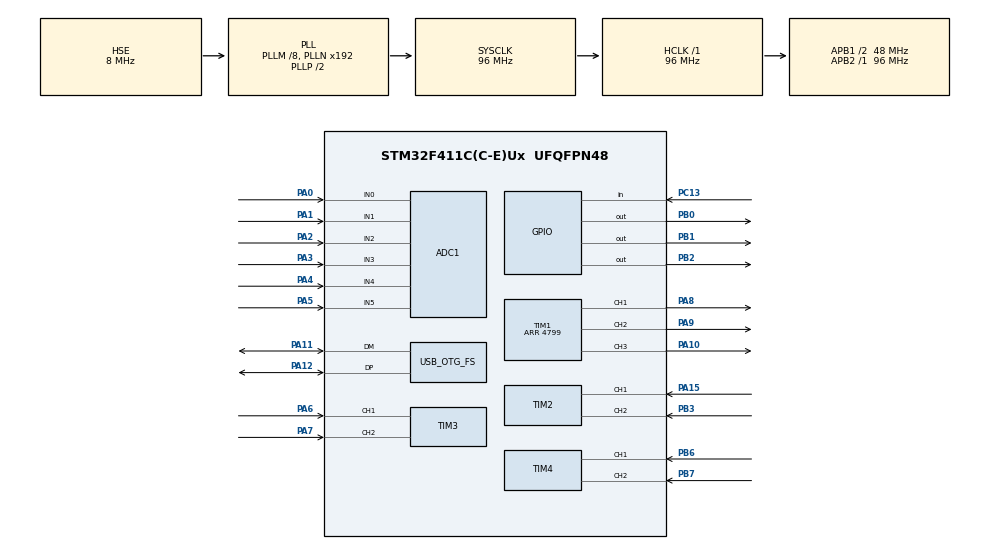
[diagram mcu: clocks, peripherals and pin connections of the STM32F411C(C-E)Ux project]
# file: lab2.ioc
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ADC1.Channel-0\#ChannelRegularConversion=ADC_CHANNEL_1
ADC1.NbrOfConversionFlag=1
ADC1.Rank-0\#ChannelRegularConversion=1
ADC1.SamplingTime-0\#ChannelRegularConversion=ADC_SAMPLETIME_3CYCLES
ADC1.master=1
Mcu.Family=STM32F4
Mcu.Name=STM32F411C(C-E)Ux
Mcu.Package=UFQFPN48
NVIC.OTG_FS_IRQn=true\:0\:0\:false\:false\:true\:false\:true\:true
NVIC.PriorityGroup=NVIC_PRIORITYGROUP_4
PA0-WKUP.Signal=ADCx_IN0
PA1.Signal=ADCx_IN1
PA10.Signal=S_TIM1_CH3
PA11.Mode=Device_Only
PA11.Signal=USB_OTG_FS_DM
PA12.Mode=Device_Only
PA12.Signal=USB_OTG_FS_DP
PA15.Signal=S_TIM2_CH1_ETR
PA2.Signal=ADCx_IN2
PA3.Signal=ADCx_IN3
PA4.Signal=ADCx_IN4
PA5.Signal=ADCx_IN5
PA6.Signal=S_TIM3_CH1
PA7.Signal=S_TIM3_CH2
PA8.Signal=S_TIM1_CH1
PA9.Signal=S_TIM1_CH2
PB0.Signal=GPIO_Output
PB1.Signal=GPIO_Output
PB2.Signal=GPIO_Output
PB3.Signal=S_TIM2_CH2
PB6.Signal=S_TIM4_CH1
PB7.Signal=S_TIM4_CH2
PC13-ANTI_TAMP.Signal=GPIO_Input
PH0\ -\ OSC_IN.Mode=HSE-External-Oscillator
PH0\ -\ OSC_IN.Signal=RCC_OSC_IN
PH1\ -\ OSC_OUT.Mode=HSE-External-Oscillator
PH1\ -\ OSC_OUT.Signal=RCC_OSC_OUT
ProjectManager.HeapSize=0x200
ProjectManager.StackSize=0x400
ProjectManager.TargetToolchain=STM32CubeIDE
RCC.48MHZClocksFreq_Value=48000000
RCC.AHBFreq_Value=96000000
RCC.APB1CLKDivider=RCC_HCLK_DIV2
RCC.APB1Freq_Value=48000000
RCC.APB1TimFreq_Value=96000000
RCC.APB2Freq_Value=96000000
RCC.APB2TimFreq_Value=96000000
RCC.CortexFreq_Value=96000000
RCC.HCLKFreq_Value=96000000
RCC.HSE_VALUE=8000000
RCC.HSI_VALUE=16000000
RCC.LSE_VALUE=32768
RCC.PLLM=8
RCC.SYSCLKFreq_VALUE=96000000
RCC.SYSCLKSource=RCC_SYSCLKSOURCE_PLLCLK
RCC.VCOOutputFreq_Value=192000000
SH.ADCx_IN0.0=ADC1_IN0,IN0
SH.ADCx_IN1.0=ADC1_IN1,IN1
SH.ADCx_IN2.0=ADC1_IN2,IN2
SH.ADCx_IN3.0=ADC1_IN3,IN3
SH.ADCx_IN4.0=ADC1_IN4,IN4
SH.ADCx_IN5.0=ADC1_IN5,IN5
SH.S_TIM1_CH1.0=TIM1_CH1,PWM Generation1 CH1
SH.S_TIM1_CH2.0=TIM1_CH2,PWM Generation2 CH2
SH.S_TIM1_CH3.0=TIM1_CH3,PWM Generation3 CH3
SH.S_TIM2_CH1_ETR.0=TIM2_CH1,Encoder_Interface
SH.S_TIM2_CH2.0=TIM2_CH2,Encoder_Interface
SH.S_TIM3_CH1.0=TIM3_CH1,Encoder_Interface
SH.S_TIM3_CH2.0=TIM3_CH2,Encoder_Interface
SH.S_TIM4_CH1.0=TIM4_CH1,Encoder_Interface
SH.S_TIM4_CH2.0=TIM4_CH2,Encoder_Interface
TIM1.AutoReloadPreload=TIM_AUTORELOAD_PRELOAD_ENABLE
TIM1.Channel-PWM\ Generation1\ CH1=TIM_CHANNEL_1
TIM1.Channel-PWM\ Generation2\ CH2=TIM_CHANNEL_2
TIM1.Channel-PWM\ Generation3\ CH3=TIM_CHANNEL_3
TIM1.Period=4799
TIM2.EncoderMode=TIM_ENCODERMODE_TI12
TIM3.EncoderMode=TIM_ENCODERMODE_TI12
TIM4.EncoderMode=TIM_ENCODERMODE_TI12
USB_DEVICE.CLASS_NAME_FS=CDC
USB_DEVICE.VirtualMode=Cdc
USB_DEVICE.VirtualModeFS=Cdc_FS
USB_OTG_FS.VirtualMode=Device_Only
VP_USB_DEVICE_VS_USB_DEVICE_CDC_FS.Mode=CDC_FS
board=custom

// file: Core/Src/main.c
/* USER CODE BEGIN Header */
/**
  ******************************************************************************
  * @file           : main.c
  * @brief          : Main program body
  ******************************************************************************
  * @attention
  *
  * Copyright (c) 2026 STMicroelectronics.
  * All rights reserved.
  *
  * This software is licensed under terms that can be found in the LICENSE file
  * in the root directory of this software component.
  * If no LICENSE file comes with this software, it is provided AS-IS.
  *
  ******************************************************************************
  */
/* USER CODE END Header */
#include "main.h"

/* USER CODE BEGIN Includes */
#include "usbd_cdc_if.h"
#include <stdio.h>
#include <string.h>
#include "usb_device.h"

/* USER CODE END Includes */

/* USER CODE BEGIN PTD */
typedef enum
{
  MOTOR_STATE_IDLE = 0,
  MOTOR_STATE_GRABBING,
  MOTOR_STATE_HOLDING,
  MOTOR_STATE_RELEASING,
  MOTOR_STATE_ADJUSTING,
  MOTOR_STATE_GRABPID,
  MOTOR_STATE_LIGHT,
  MOTOR_STATE_HARD,
  MOTOR_STATE_UNEVEN,
  MOTOR_STATE_SETUP_FORWARD,
  MOTOR_STATE_SETUP_BACKWARD
} MotorState;

typedef struct
{
  TIM_HandleTypeDef *encoder_timer;
  uint32_t encoder_mask;
  TIM_HandleTypeDef *pwm_timer;
  uint32_t pwm_channel;
  GPIO_TypeDef *phase_port;
  uint16_t phase_pin;
  GPIO_PinState grab_phase;
  int32_t encoder_grab_sign;
  uint32_t pressure_index;

  uint32_t encoder_raw;
  uint32_t encoder_last_raw;
  int32_t encoder_position_counts;
  int32_t grab_start_counts;
  int32_t grab_travel_counts;
  int32_t release_start_counts;
  int32_t release_target_counts;
  int32_t adjust_start_counts;
  int32_t adjust_target_counts;
  int32_t adjust_direction_sign;
  int32_t grabpid_integral;
  int32_t grabpid_previous_error;
  int8_t grabpid_output_sign;
  uint32_t grabpid_target_duty_percent;
  uint32_t duty_percent;
  MotorState state;
} MotorRuntime;

/* USER CODE END PTD */

/* USER CODE BEGIN PD */
#define MOTOR_COUNT                      3U
#define MOTOR_TARGET_DUTY_PERCENT       35U
#define SETUP_TARGET_DUTY_PERCENT       50U
#define MOTOR_DUTY_RAMP_STEP_PERCENT    2U
#define MOTOR_DUTY_RAMP_STEP_MS         25U

#define FORWARD_OUTPUT_ROTATION_LIMIT   0.8L
#define GEARBOX_RATIO                   1L
#define ENCODER_COUNTS_PER_MOTOR_ROTATION 4096L
#define ENCODER_COUNTS_PER_OUTPUT_ROTATION \
  (GEARBOX_RATIO * ENCODER_COUNTS_PER_MOTOR_ROTATION)
#define FORWARD_TRAVEL_LIMIT_COUNTS \
  (FORWARD_OUTPUT_ROTATION_LIMIT * ENCODER_COUNTS_PER_OUTPUT_ROTATION)
#define SETUP_RETURN_OVERLAP_COUNTS     (FORWARD_TRAVEL_LIMIT_COUNTS / 5L)
#define GRABPID_GAIN_SCALE              100L
#define GRABPID_ERROR_DEADBAND_PERCENT  1L
#define GRABPID_INTEGRAL_LIMIT          1000L
#define YEAH_MOTOR_NUMBER               2U
#define YEAH_ROTATION_MICRO             2000000UL

#define ADC_MAX_COUNTS                  4095U
#define ADC_PRESSURE1_CHANNEL           ADC_CHANNEL_0
#define ADC_PRESSURE2_CHANNEL           ADC_CHANNEL_1
#define ADC_PRESSURE3_CHANNEL           ADC_CHANNEL_2
/* Pressure indexes: 0 = PA0, 1 = PA1, 2 = PA2. */
#define MOTOR1_PRESSURE_INDEX           1U
#define MOTOR2_PRESSURE_INDEX           2U
#define MOTOR3_PRESSURE_INDEX           0U
#define CONTROL_UPDATE_MS               10U
#define SERIAL_REPORT_MS                100U

#define MOTOR1_GRAB_PHASE               GPIO_PIN_RESET
#define MOTOR2_GRAB_PHASE               GPIO_PIN_SET
#define MOTOR3_GRAB_PHASE               GPIO_PIN_SET
#define MOTOR1_ENCODER_GRAB_SIGN        1L
#define MOTOR2_ENCODER_GRAB_SIGN        -1L
#define MOTOR3_ENCODER_GRAB_SIGN        -1L

/* USER CODE END PD */

ADC_HandleTypeDef hadc1;

TIM_HandleTypeDef htim1;
TIM_HandleTypeDef htim2;
TIM_HandleTypeDef htim3;
TIM_HandleTypeDef htim4;

/* USER CODE BEGIN PV */
/*
 * Serial commands:
 *   grab    - close each finger until its normal pressure threshold or max travel.
 *   grabpid - independently PID-control each finger to its pressure target.
 *   light   - close each finger like grab, but with low pressure thresholds.
 *   hard    - close each finger like light, but with high pressure thresholds.
 *   uneven  - close for uneven objects; stop all fingers after enough fingers hit threshold.
 *   release - release the last recorded grab/light/uneven/grabpid travel; also accepts "relase".
 *   STOP    - immediately stop every motor with no release motion.
 *   setup   - run the setup forward/backward sequence.
 *   adj <motor> <+|-> <rotations> - move one motor by a signed rotation count.
 *   yeah    - move the configured motor in the positive direction by the configured rotations.
 *
 * Connections:
 *   PA0 pressure sensor -> finger 3, motor phase PB2, PWM PA10.
 *   PA1 pressure sensor -> finger 1, motor phase PB0, PWM PA8.
 *   PA2 pressure sensor -> finger 2, motor phase PB1, PWM PA9.
 *
 * Finger-indexed arrays use order: {finger 1, finger 2, finger 3}.
 */
static uint32_t grab_stop_percent[MOTOR_COUNT] = {40U, 55U, 40U};
static uint32_t grab_pressure_index[MOTOR_COUNT] =
{
  MOTOR1_PRESSURE_INDEX,
  MOTOR2_PRESSURE_INDEX,
  MOTOR3_PRESSURE_INDEX
};
static uint32_t light_stop_percent[MOTOR_COUNT] = {10U, 10U, 10U};
static uint32_t hard_stop_percent[MOTOR_COUNT] = {85U, 85U, 85U};
static uint32_t uneven_stop_percent[MOTOR_COUNT] = {40U, 55U, 40U};
static uint32_t uneven_primary_finger_index = 1U;
static uint32_t uneven_secondary_finger_a_index = 0U;
static uint32_t uneven_secondary_finger_b_index = 2U;
static uint32_t grabpid_target_percent[MOTOR_COUNT] = {60U, 70U, 60U};
static int32_t grabpid_kp[MOTOR_COUNT] = {200L, 200L, 200L};
static int32_t grabpid_ki[MOTOR_COUNT] = {0L, 0L, 0L};
static int32_t grabpid_kd[MOTOR_COUNT] = {0L, 0L, 0L};
static uint32_t grabpid_max_duty_percent[MOTOR_COUNT] =
{
  MOTOR_TARGET_DUTY_PERCENT,
  MOTOR_TARGET_DUTY_PERCENT,
  MOTOR_TARGET_DUTY_PERCENT
};
static uint8_t yeah_motor_number = YEAH_MOTOR_NUMBER;
static uint32_t yeah_rotation_micro = YEAH_ROTATION_MICRO;

static MotorRuntime motors[MOTOR_COUNT] =
{
  {
    .encoder_timer = &htim2,
    .encoder_mask = 0xFFFFFFFFUL,
    .pwm_timer = &htim1,
    .pwm_channel = TIM_CHANNEL_1,
    .phase_port = GPIOB,
    .phase_pin = GPIO_PIN_0,
    .grab_phase = MOTOR1_GRAB_PHASE,
    .encoder_grab_sign = MOTOR1_ENCODER_GRAB_SIGN,
    .pressure_index = MOTOR1_PRESSURE_INDEX
  },
  {
    .encoder_timer = &htim3,
    .encoder_mask = 0x0000FFFFUL,
    .pwm_timer = &htim1,
    .pwm_channel = TIM_CHANNEL_2,
    .phase_port = GPIOB,
    .phase_pin = GPIO_PIN_1,
    .grab_phase = MOTOR2_GRAB_PHASE,
    .encoder_grab_sign = MOTOR2_ENCODER_GRAB_SIGN,
    .pressure_index = MOTOR2_PRESSURE_INDEX
  },
  {
    .encoder_timer = &htim4,
    .encoder_mask = 0x0000FFFFUL,
    .pwm_timer = &htim1,
    .pwm_channel = TIM_CHANNEL_3,
    .phase_port = GPIOB,
    .phase_pin = GPIO_PIN_2,
    .grab_phase = MOTOR3_GRAB_PHASE,
    .encoder_grab_sign = MOTOR3_ENCODER_GRAB_SIGN,
    .pressure_index = MOTOR3_PRESSURE_INDEX
  }
};

static uint32_t pressure_raw[3];
static uint32_t pressure_percent[3];
static uint8_t setup_sequence_active = 0U;
static uint8_t setup_waiting_for_zero_duty = 0U;
static uint32_t setup_motor_index = 0U;
static uint8_t setup_overlap_started[MOTOR_COUNT];
static int8_t setup_next_direction_sign = 0;

/* USER CODE END PV */

void SystemClock_Config(void);
static void MX_GPIO_Init(void);
static void MX_TIM2_Init(void);
static void MX_TIM3_Init(void);
static void MX_TIM1_Init(void);
static void MX_ADC1_Init(void);
static void MX_TIM4_Init(void);
/* USER CODE BEGIN PFP */
static void App_Init(void);
static void App_Update(void);
static void App_HandleSerialCommands(void);
static void App_StartGrab(void);
static void App_StartGrabPid(void);
static void App_StartLight(void);
static void App_StartHard(void);
static void App_StartUneven(void);
static void App_StartRelease(void);
static void App_StopAllMotors(const char *command_name);
static void App_StartAdjust(uint8_t motor_number, int8_t direction_sign, uint32_t rotation_micro);
static void App_StartMotorRotation(uint8_t motor_number,
                                   int8_t direction_sign,
                                   uint32_t rotation_micro,
                                   const char *command_name);
static void App_StartYeah(void);
static void App_StartSetup(void);
static void App_StartSetupMove(uint32_t motor_index, int8_t direction_sign);
static void App_AdvanceSetupSequence(void);
static void App_StartPressureGrab(MotorState state, const char *command_name);
static void App_UpdateGrabMotor(uint32_t motor_index);
static void App_UpdatePressureGrabMotor(uint32_t motor_index, const uint32_t *stop_percent);
static void App_UpdateUnevenGrab(void);
static void App_StopMotorHolding(MotorRuntime *motor);
static void App_UpdateGrabPidMotor(uint32_t motor_index);
static void App_ReadPressureSensors(void);
static void App_PrintStatus(void);
static void Motor_SetDutyPercent(MotorRuntime *motor, uint32_t duty_percent);
static void Motor_RampDuty(MotorRuntime *motor, uint32_t target_duty_percent);
static void Motor_SetDirection(MotorRuntime *motor, GPIO_PinState phase);
static void Motor_Stop(MotorRuntime *motor);
static void Motor_UpdateEncoder(MotorRuntime *motor);
static int32_t Motor_GetLogicalForwardCounts(const MotorRuntime *motor);
static int32_t Motor_GetLogicalReleaseTravelCounts(const MotorRuntime *motor);
static int32_t Motor_GetLogicalAdjustTravelCounts(const MotorRuntime *motor);
static int32_t Motor_GetRotationMilli(const MotorRuntime *motor);
static int32_t RotationMicroToCounts(uint32_t rotation_micro);
static void Motor_ResetZero(MotorRuntime *motor);
static int32_t Abs32(int32_t value);
static uint32_t PressurePercentFromRaw(uint32_t raw);
static void Serial_SendString(const char *text);
static uint32_t ADC_ReadRaw(uint32_t channel);

/* USER CODE END PFP */

/* USER CODE BEGIN 0 */
static void App_Init(void)
{
  HAL_TIM_PWM_Start(&htim1, TIM_CHANNEL_1);
  HAL_TIM_PWM_Start(&htim1, TIM_CHANNEL_2);
  HAL_TIM_PWM_Start(&htim1, TIM_CHANNEL_3);
  HAL_TIM_Encoder_Start(&htim2, TIM_CHANNEL_ALL);
  HAL_TIM_Encoder_Start(&htim3, TIM_CHANNEL_ALL);
  HAL_TIM_Encoder_Start(&htim4, TIM_CHANNEL_ALL);

  for (uint32_t i = 0U; i < MOTOR_COUNT; i++)
  {
    __HAL_TIM_SET_COUNTER(motors[i].encoder_timer, 0U);
    motors[i].encoder_raw = 0U;
    motors[i].encoder_last_raw = 0U;
    motors[i].encoder_position_counts = 0L;
    motors[i].grab_start_counts = 0L;
    motors[i].grab_travel_counts = 0L;
    motors[i].release_start_counts = 0L;
    motors[i].release_target_counts = 0L;
    motors[i].adjust_start_counts = 0L;
    motors[i].adjust_target_counts = 0L;
    motors[i].adjust_direction_sign = 1L;
    motors[i].grabpid_integral = 0L;
    motors[i].grabpid_previous_error = 0L;
    motors[i].grabpid_output_sign = 0;
    motors[i].grabpid_target_duty_percent = 0U;
    motors[i].state = MOTOR_STATE_IDLE;
    Motor_Stop(&motors[i]);
  }

  App_ReadPressureSensors();
  Serial_SendString("robotic_hand_test,start\r\n");
  Serial_SendString("commands: grab, grabpid, light, hard, uneven, STOP, relase, release, setup, yeah, adj <motor> <+|-> <rotations>\r\n");
  Serial_SendString("t_ms,m1_state,m1_enc_raw,m1_counts,m1_rot,m1_duty,m2_state,m2_enc_raw,m2_counts,m2_rot,m2_duty,m3_state,m3_enc_raw,m3_counts,m3_rot,m3_duty,p1_raw,p1_pct,p2_raw,p2_pct,p3_raw,p3_pct\r\n");
}

static void App_Update(void)
{
  static uint32_t last_control_tick = 0U;
  static uint32_t last_ramp_tick = 0U;
  static uint32_t last_report_tick = 0U;
  uint32_t now = HAL_GetTick();

  App_HandleSerialCommands();

  if ((now - last_control_tick) >= CONTROL_UPDATE_MS)
  {
    last_control_tick = now;
    App_ReadPressureSensors();

    for (uint32_t i = 0U; i < MOTOR_COUNT; i++)
    {
      Motor_UpdateEncoder(&motors[i]);

      if (motors[i].state == MOTOR_STATE_GRABBING)
      {
        App_UpdateGrabMotor(i);
      }
      else if (motors[i].state == MOTOR_STATE_LIGHT)
      {
        App_UpdatePressureGrabMotor(i, light_stop_percent);
      }
      else if (motors[i].state == MOTOR_STATE_HARD)
      {
        App_UpdatePressureGrabMotor(i, hard_stop_percent);
      }
      else if (motors[i].state == MOTOR_STATE_GRABPID)
      {
        App_UpdateGrabPidMotor(i);
      }
      else if (motors[i].state == MOTOR_STATE_RELEASING)
      {
        if (Motor_GetLogicalReleaseTravelCounts(&motors[i]) >= motors[i].grab_travel_counts)
        {
          motors[i].grab_travel_counts = 0L;
          motors[i].release_target_counts = 0L;
          motors[i].state = MOTOR_STATE_IDLE;
          Motor_Stop(&motors[i]);
        }
      }
      else if (motors[i].state == MOTOR_STATE_ADJUSTING)
      {
        if (Motor_GetLogicalAdjustTravelCounts(&motors[i]) >= motors[i].adjust_target_counts)
        {
          Motor_Stop(&motors[i]);
          Motor_ResetZero(&motors[i]);
          motors[i].state = MOTOR_STATE_IDLE;
        }
      }
      else if ((motors[i].state == MOTOR_STATE_SETUP_FORWARD) ||
               (motors[i].state == MOTOR_STATE_SETUP_BACKWARD))
      {
        int32_t setup_travel_counts = Motor_GetLogicalAdjustTravelCounts(&motors[i]);
        MotorState setup_state = motors[i].state;

        if ((setup_sequence_active != 0U) &&
            (i == setup_motor_index) &&
            (setup_state == MOTOR_STATE_SETUP_BACKWARD) &&
            (setup_overlap_started[i] == 0U) &&
            ((setup_travel_counts + SETUP_RETURN_OVERLAP_COUNTS) >= motors[i].adjust_target_counts) &&
            ((i + 1U) < MOTOR_COUNT) &&
            (motors[i + 1U].state == MOTOR_STATE_IDLE))
        {
          setup_overlap_started[i] = 1U;
          App_StartSetupMove(i + 1U, 1);
        }

        if ((i == setup_motor_index) && (setup_travel_counts >= motors[i].adjust_target_counts))
        {
          setup_next_direction_sign =
              (setup_state == MOTOR_STATE_SETUP_FORWARD) ? -1 : 0;
          motors[i].state = MOTOR_STATE_IDLE;

          if ((setup_state == MOTOR_STATE_SETUP_BACKWARD) &&
              (setup_overlap_started[i] != 0U) &&
              ((i + 1U) < MOTOR_COUNT))
          {
            setup_waiting_for_zero_duty = 0U;
            App_AdvanceSetupSequence();
          }
          else
          {
            setup_waiting_for_zero_duty = 1U;
          }
        }
      }
    }

    App_UpdateUnevenGrab();
  }

  if ((now - last_ramp_tick) >= MOTOR_DUTY_RAMP_STEP_MS)
  {
    last_ramp_tick = now;

    for (uint32_t i = 0U; i < MOTOR_COUNT; i++)
    {
      if (motors[i].state == MOTOR_STATE_GRABPID)
      {
        Motor_RampDuty(&motors[i], motors[i].grabpid_target_duty_percent);
      }
      else if ((motors[i].state == MOTOR_STATE_GRABBING) ||
          (motors[i].state == MOTOR_STATE_LIGHT) ||
          (motors[i].state == MOTOR_STATE_HARD) ||
          (motors[i].state == MOTOR_STATE_UNEVEN) ||
          (motors[i].state == MOTOR_STATE_RELEASING) ||
          (motors[i].state == MOTOR_STATE_ADJUSTING))
      {
        Motor_RampDuty(&motors[i], MOTOR_TARGET_DUTY_PERCENT);
      }
      else if ((motors[i].state == MOTOR_STATE_SETUP_FORWARD) ||
               (motors[i].state == MOTOR_STATE_SETUP_BACKWARD))
      {
        Motor_RampDuty(&motors[i], SETUP_TARGET_DUTY_PERCENT);
      }
      else
      {
        Motor_RampDuty(&motors[i], 0U);
      }
    }

    if ((setup_sequence_active != 0U) &&
        (setup_waiting_for_zero_duty != 0U) &&
        (setup_motor_index < MOTOR_COUNT) &&
        (motors[setup_motor_index].duty_percent == 0U))
    {
      App_AdvanceSetupSequence();
    }
  }

  if ((now - last_report_tick) >= SERIAL_REPORT_MS)
  {
    last_report_tick = now;
    App_PrintStatus();
  }
}

static void App_HandleSerialCommands(void)
{
  uint8_t adjust_motor_number;
  int8_t adjust_direction_sign;
  uint32_t adjust_rotation_micro;

  if (USB_CDC_PollStopCommand() != 0U)
  {
    App_StopAllMotors("STOP");
    return;
  }

  if (USB_CDC_PollReleaseCommand() != 0U)
  {
    App_StartRelease();
    return;
  }

  if (USB_CDC_PollGrabCommand() != 0U)
  {
    App_StartGrab();
  }

  if (USB_CDC_PollGrabPidCommand() != 0U)
  {
    App_StartGrabPid();
  }

  if (USB_CDC_PollLightCommand() != 0U)
  {
    App_StartLight();
  }

  if (USB_CDC_PollHardCommand() != 0U)
  {
    App_StartHard();
  }

  if (USB_CDC_PollUnevenCommand() != 0U)
  {
    App_StartUneven();
  }

  if (USB_CDC_PollYeahCommand() != 0U)
  {
    App_StartYeah();
  }

  if (USB_CDC_PollSetupCommand() != 0U)
  {
    App_StartSetup();
  }

  if (USB_CDC_PollAdjustCommand(&adjust_motor_number,
                                &adjust_direction_sign,
                                &adjust_rotation_micro) != 0U)
  {
    App_StartAdjust(adjust_motor_number, adjust_direction_sign, adjust_rotation_micro);
  }
}

static void App_StartGrab(void)
{
  App_StartPressureGrab(MOTOR_STATE_GRABBING, "grab");
}

static void App_StartLight(void)
{
  App_StartPressureGrab(MOTOR_STATE_LIGHT, "light");
}

static void App_StartHard(void)
{
  App_StartPressureGrab(MOTOR_STATE_HARD, "hard");
}

static void App_StartUneven(void)
{
  App_StartPressureGrab(MOTOR_STATE_UNEVEN, "uneven");
}

static void App_StartPressureGrab(MotorState state, const char *command_name)
{
  char line[32];

  setup_sequence_active = 0U;
  setup_waiting_for_zero_duty = 0U;
  setup_next_direction_sign = 0;

  for (uint32_t i = 0U; i < MOTOR_COUNT; i++)
  {
    Motor_UpdateEncoder(&motors[i]);
    motors[i].grab_start_counts = motors[i].encoder_position_counts;
    motors[i].grab_travel_counts = 0L;
    motors[i].release_target_counts = 0L;
    motors[i].grabpid_integral = 0L;
    motors[i].grabpid_previous_error = 0L;
    motors[i].grabpid_output_sign = 0;
    motors[i].grabpid_target_duty_percent = 0U;
    motors[i].state = state;
    Motor_SetDirection(&motors[i], motors[i].grab_phase);
  }

  snprintf(line, sizeof(line), "cmd,%s\r\n", command_name);
  Serial_SendString(line);
}

static void App_StartGrabPid(void)
{
  setup_sequence_active = 0U;
  setup_waiting_for_zero_duty = 0U;
  setup_next_direction_sign = 0;

  for (uint32_t i = 0U; i < MOTOR_COUNT; i++)
  {
    Motor_UpdateEncoder(&motors[i]);
    motors[i].grab_start_counts = motors[i].encoder_position_counts;
    motors[i].grab_travel_counts = 0L;
    motors[i].release_target_counts = 0L;
    motors[i].adjust_target_counts = 0L;
    motors[i].grabpid_integral = 0L;
    motors[i].grabpid_previous_error =
        (int32_t)grabpid_target_percent[i] -
        (int32_t)pressure_percent[motors[i].pressure_index];
    motors[i].grabpid_output_sign = 0;
    motors[i].grabpid_target_duty_percent = 0U;
    motors[i].state = MOTOR_STATE_GRABPID;
    Motor_SetDirection(&motors[i], motors[i].grab_phase);
  }

  Serial_SendString("cmd,grabpid\r\n");
}

static void App_StopAllMotors(const char *command_name)
{
  char line[32];

  setup_sequence_active = 0U;
  setup_waiting_for_zero_duty = 0U;
  setup_next_direction_sign = 0;

  for (uint32_t i = 0U; i < MOTOR_COUNT; i++)
  {
    motors[i].release_target_counts = 0L;
    motors[i].adjust_target_counts = 0L;
    motors[i].grabpid_target_duty_percent = 0U;
    motors[i].grabpid_output_sign = 0;
    motors[i].state = MOTOR_STATE_IDLE;
    Motor_Stop(&motors[i]);
  }

  snprintf(line, sizeof(line), "cmd,%s\r\n", command_name);
  Serial_SendString(line);
}

static void App_StartRelease(void)
{
  setup_sequence_active = 0U;
  setup_waiting_for_zero_duty = 0U;
  setup_next_direction_sign = 0;

  for (uint32_t i = 0U; i < MOTOR_COUNT; i++)
  {
    Motor_UpdateEncoder(&motors[i]);

    if (motors[i].grab_travel_counts > 0L)
    {
      motors[i].grabpid_target_duty_percent = 0U;
      motors[i].grabpid_output_sign = 0;
      motors[i].release_start_counts = motors[i].encoder_position_counts;
      motors[i].release_target_counts = motors[i].grab_travel_counts;
      motors[i].state = MOTOR_STATE_RELEASING;
      Motor_SetDirection(&motors[i], (motors[i].grab_phase == GPIO_PIN_SET) ? GPIO_PIN_RESET : GPIO_PIN_SET);
    }
    else
    {
      motors[i].state = MOTOR_STATE_IDLE;
      Motor_Stop(&motors[i]);
    }
  }

  Serial_SendString("cmd,release\r\n");
}

static void App_StartAdjust(uint8_t motor_number, int8_t direction_sign, uint32_t rotation_micro)
{
  App_StartMotorRotation(motor_number, direction_sign, rotation_micro, "adj");
}

static void App_StartMotorRotation(uint8_t motor_number,
                                   int8_t direction_sign,
                                   uint32_t rotation_micro,
                                   const char *command_name)
{
  char line[64];
  int32_t adjust_counts = RotationMicroToCounts(rotation_micro);
  MotorRuntime *motor;

  if ((motor_number < 1U) || (motor_number > MOTOR_COUNT) ||
      ((direction_sign != 1) && (direction_sign != -1)) ||
      (adjust_counts <= 0L))
  {
    snprintf(line, sizeof(line), "cmd,%s,error\r\n", command_name);
    Serial_SendString(line);
    return;
  }

  setup_sequence_active = 0U;
  setup_waiting_for_zero_duty = 0U;
  setup_next_direction_sign = 0;
  motor = &motors[motor_number - 1U];
  Motor_UpdateEncoder(motor);
  motor->adjust_start_counts = motor->encoder_position_counts;
  motor->adjust_target_counts = adjust_counts;
  motor->adjust_direction_sign = direction_sign;
  motor->grab_travel_counts = 0L;
  motor->release_target_counts = 0L;
  motor->grabpid_target_duty_percent = 0U;
  motor->grabpid_output_sign = 0;
  motor->state = MOTOR_STATE_ADJUSTING;

  Motor_SetDirection(motor,
                     (direction_sign > 0) ?
                     motor->grab_phase :
                     ((motor->grab_phase == GPIO_PIN_SET) ? GPIO_PIN_RESET : GPIO_PIN_SET));

  snprintf(line,
           sizeof(line),
           "cmd,%s,%u,%c,%ld\r\n",
           command_name,
           (unsigned int)motor_number,
           (direction_sign > 0) ? '+' : '-',
           (long)adjust_counts);
  Serial_SendString(line);
}

static void App_StartYeah(void)
{
  App_StartMotorRotation(yeah_motor_number, 1, yeah_rotation_micro, "yeah");
}

static void App_StartSetup(void)
{
  setup_sequence_active = 1U;
  setup_waiting_for_zero_duty = 0U;
  setup_motor_index = 0U;
  setup_next_direction_sign = 0;

  for (uint32_t i = 0U; i < MOTOR_COUNT; i++)
  {
    setup_overlap_started[i] = 0U;
    Motor_UpdateEncoder(&motors[i]);
    motors[i].grab_travel_counts = 0L;
    motors[i].release_target_counts = 0L;
    motors[i].adjust_target_counts = 0L;
    motors[i].grabpid_target_duty_percent = 0U;
    motors[i].grabpid_output_sign = 0;
    motors[i].state = MOTOR_STATE_IDLE;
  }

  Serial_SendString("cmd,setup,start\r\n");
  App_StartSetupMove(setup_motor_index, 1);
}

static void App_StartSetupMove(uint32_t motor_index, int8_t direction_sign)
{
  MotorRuntime *motor;

  if (motor_index >= MOTOR_COUNT)
  {
    setup_sequence_active = 0U;
    Serial_SendString("cmd,setup,done\r\n");
    return;
  }

  motor = &motors[motor_index];
  setup_waiting_for_zero_duty = 0U;
  setup_next_direction_sign = 0;
  Motor_UpdateEncoder(motor);
  setup_overlap_started[motor_index] = 0U;
  motor->adjust_start_counts = motor->encoder_position_counts;
  motor->adjust_target_counts = FORWARD_TRAVEL_LIMIT_COUNTS;
  motor->adjust_direction_sign = direction_sign;
  motor->state = (direction_sign > 0) ? MOTOR_STATE_SETUP_FORWARD : MOTOR_STATE_SETUP_BACKWARD;

  Motor_SetDirection(motor,
                     (direction_sign > 0) ?
                     motor->grab_phase :
                     ((motor->grab_phase == GPIO_PIN_SET) ? GPIO_PIN_RESET : GPIO_PIN_SET));
}

static void App_AdvanceSetupSequence(void)
{
  if (setup_sequence_active == 0U)
  {
    return;
  }

  if (setup_motor_index >= MOTOR_COUNT)
  {
    setup_sequence_active = 0U;
    Serial_SendString("cmd,setup,done\r\n");
    return;
  }

  setup_waiting_for_zero_duty = 0U;

  if (setup_next_direction_sign != 0)
  {
    App_StartSetupMove(setup_motor_index, setup_next_direction_sign);
    return;
  }

  motors[setup_motor_index].state = MOTOR_STATE_IDLE;
  setup_motor_index++;

  if (setup_motor_index < MOTOR_COUNT)
  {
    if ((motors[setup_motor_index].state != MOTOR_STATE_SETUP_FORWARD) &&
        (motors[setup_motor_index].state != MOTOR_STATE_SETUP_BACKWARD))
    {
      App_StartSetupMove(setup_motor_index, 1);
    }
  }
  else
  {
    setup_sequence_active = 0U;
    Serial_SendString("cmd,setup,done\r\n");
  }
}

static void App_UpdateGrabMotor(uint32_t motor_index)
{
  MotorRuntime *motor = &motors[motor_index];
  int32_t forward_counts = Motor_GetLogicalForwardCounts(motor);
  int32_t command_travel_counts =
      forward_counts - (motor->grab_start_counts * motor->encoder_grab_sign);
  uint32_t finger_pressure_percent = pressure_percent[grab_pressure_index[motor_index]];

  if (command_travel_counts < 0L)
  {
    command_travel_counts = 0L;
  }
  motor->grab_travel_counts = command_travel_counts;

  if ((command_travel_counts >= FORWARD_TRAVEL_LIMIT_COUNTS) ||
      (finger_pressure_percent >= grab_stop_percent[motor_index]))
  {
    App_StopMotorHolding(motor);
  }
}

static void App_UpdatePressureGrabMotor(uint32_t motor_index, const uint32_t *stop_percent)
{
  MotorRuntime *motor = &motors[motor_index];
  int32_t forward_counts = Motor_GetLogicalForwardCounts(motor);
  int32_t command_travel_counts =
      forward_counts - (motor->grab_start_counts * motor->encoder_grab_sign);
  uint32_t finger_pressure_percent = pressure_percent[motor->pressure_index];

  if (command_travel_counts < 0L)
  {
    command_travel_counts = 0L;
  }
  motor->grab_travel_counts = command_travel_counts;

  if ((command_travel_counts >= FORWARD_TRAVEL_LIMIT_COUNTS) ||
      (finger_pressure_percent >= stop_percent[motor_index]))
  {
    App_StopMotorHolding(motor);
  }
}

static void App_UpdateUnevenGrab(void)
{
  uint32_t active_count = 0U;
  uint8_t threshold_reached[MOTOR_COUNT] = {0U, 0U, 0U};
  uint8_t stop_all = 0U;

  for (uint32_t i = 0U; i < MOTOR_COUNT; i++)
  {
    MotorRuntime *motor = &motors[i];
    int32_t forward_counts;
    int32_t command_travel_counts;

    if (motor->state != MOTOR_STATE_UNEVEN)
    {
      continue;
    }

    active_count++;
    forward_counts = Motor_GetLogicalForwardCounts(motor);
    command_travel_counts =
        forward_counts - (motor->grab_start_counts * motor->encoder_grab_sign);

    if (command_travel_counts < 0L)
    {
      command_travel_counts = 0L;
    }
    motor->grab_travel_counts = command_travel_counts;

    if (command_travel_counts >= FORWARD_TRAVEL_LIMIT_COUNTS)
    {
      App_StopMotorHolding(motor);
    }

    if (pressure_percent[motor->pressure_index] >= uneven_stop_percent[i])
    {
      threshold_reached[i] = 1U;
    }
  }

  if ((uneven_primary_finger_index < MOTOR_COUNT) &&
      (uneven_secondary_finger_a_index < MOTOR_COUNT) &&
      (uneven_secondary_finger_b_index < MOTOR_COUNT) &&
      (threshold_reached[uneven_primary_finger_index] != 0U) &&
      ((threshold_reached[uneven_secondary_finger_a_index] != 0U) ||
       (threshold_reached[uneven_secondary_finger_b_index] != 0U)))
  {
    stop_all = 1U;
  }

  if ((active_count == 0U) || (stop_all == 0U))
  {
    return;
  }

  for (uint32_t i = 0U; i < MOTOR_COUNT; i++)
  {
    if ((motors[i].state == MOTOR_STATE_UNEVEN) ||
        (motors[i].state == MOTOR_STATE_HOLDING))
    {
      App_StopMotorHolding(&motors[i]);
    }
  }
}

static void App_StopMotorHolding(MotorRuntime *motor)
{
  motor->state = MOTOR_STATE_HOLDING;
  motor->grabpid_target_duty_percent = 0U;
  motor->grabpid_output_sign = 0;
  Motor_Stop(motor);
}

static void App_UpdateGrabPidMotor(uint32_t motor_index)
{
  MotorRuntime *motor = &motors[motor_index];
  int32_t start_forward_counts = motor->grab_start_counts * motor->encoder_grab_sign;
  int32_t forward_counts = Motor_GetLogicalForwardCounts(motor);
  int32_t travel_counts = forward_counts - start_forward_counts;
  int32_t error;
  int32_t derivative;
  int32_t output;
  int8_t output_sign;
  uint32_t duty_percent;

  if (travel_counts < 0L)
  {
    travel_counts = 0L;
  }
  motor->grab_travel_counts = travel_counts;

  error = (int32_t)grabpid_target_percent[motor_index] -
          (int32_t)pressure_percent[motor->pressure_index];

  if ((Abs32(error) <= GRABPID_ERROR_DEADBAND_PERCENT) ||
      ((error > 0L) && (travel_counts >= FORWARD_TRAVEL_LIMIT_COUNTS)) ||
      ((error < 0L) && (travel_counts <= 0L)))
  {
    motor->grabpid_target_duty_percent = 0U;
    motor->grabpid_output_sign = 0;
    motor->grabpid_previous_error = error;
    return;
  }

  motor->grabpid_integral += error;
  if (motor->grabpid_integral > GRABPID_INTEGRAL_LIMIT)
  {
    motor->grabpid_integral = GRABPID_INTEGRAL_LIMIT;
  }
  else if (motor->grabpid_integral < -GRABPID_INTEGRAL_LIMIT)
  {
    motor->grabpid_integral = -GRABPID_INTEGRAL_LIMIT;
  }

  derivative = error - motor->grabpid_previous_error;
  motor->grabpid_previous_error = error;

  output = ((grabpid_kp[motor_index] * error) +
            (grabpid_ki[motor_index] * motor->grabpid_integral) +
            (grabpid_kd[motor_index] * derivative)) / GRABPID_GAIN_SCALE;

  if (output == 0L)
  {
    motor->grabpid_target_duty_percent = 0U;
    motor->grabpid_output_sign = 0;
    return;
  }

  output_sign = (output > 0L) ? 1 : -1;
  duty_percent = (uint32_t)Abs32(output);
  if (duty_percent > grabpid_max_duty_percent[motor_index])
  {
    duty_percent = grabpid_max_duty_percent[motor_index];
  }

  if (motor->grabpid_output_sign != output_sign)
  {
    Motor_Stop(motor);
    Motor_SetDirection(motor,
                       (output_sign > 0) ?
                       motor->grab_phase :
                       ((motor->grab_phase == GPIO_PIN_SET) ? GPIO_PIN_RESET : GPIO_PIN_SET));
    motor->grabpid_output_sign = output_sign;
  }

  motor->grabpid_target_duty_percent = duty_percent;
}

static void App_ReadPressureSensors(void)
{
  pressure_raw[0] = ADC_ReadRaw(ADC_PRESSURE1_CHANNEL);
  pressure_raw[1] = ADC_ReadRaw(ADC_PRESSURE2_CHANNEL);
  pressure_raw[2] = ADC_ReadRaw(ADC_PRESSURE3_CHANNEL);

  pressure_percent[0] = PressurePercentFromRaw(pressure_raw[0]);
  pressure_percent[1] = PressurePercentFromRaw(pressure_raw[1]);
  pressure_percent[2] = PressurePercentFromRaw(pressure_raw[2]);
}

static void App_PrintStatus(void)
{
  char line[320];
  int32_t m1_rot_milli = Motor_GetRotationMilli(&motors[0]);
  int32_t m2_rot_milli = Motor_GetRotationMilli(&motors[1]);
  int32_t m3_rot_milli = Motor_GetRotationMilli(&motors[2]);

  snprintf(line,
           sizeof(line),
           "%lu,%u,%lu,%ld,%ld.%03ld,%lu,%u,%lu,%ld,%ld.%03ld,%lu,%u,%lu,%ld,%ld.%03ld,%lu,%lu,%lu,%lu,%lu,%lu,%lu\r\n",
           (unsigned long)HAL_GetTick(),
           (unsigned int)motors[0].state,
           (unsigned long)motors[0].encoder_raw,
           (long)motors[0].encoder_position_counts,
           (long)(m1_rot_milli / 1000L),
           (long)Abs32(m1_rot_milli % 1000L),
           (unsigned long)motors[0].duty_percent,
           (unsigned int)motors[1].state,
           (unsigned long)motors[1].encoder_raw,
           (long)motors[1].encoder_position_counts,
           (long)(m2_rot_milli / 1000L),
           (long)Abs32(m2_rot_milli % 1000L),
           (unsigned long)motors[1].duty_percent,
           (unsigned int)motors[2].state,
           (unsigned long)motors[2].encoder_raw,
           (long)motors[2].encoder_position_counts,
           (long)(m3_rot_milli / 1000L),
           (long)Abs32(m3_rot_milli % 1000L),
           (unsigned long)motors[2].duty_percent,
           (unsigned long)pressure_raw[0],
           (unsigned long)pressure_percent[0],
           (unsigned long)pressure_raw[1],
           (unsigned long)pressure_percent[1],
           (unsigned long)pressure_raw[2],
           (unsigned long)pressure_percent[2]);
  Serial_SendString(line);
}

static void Motor_SetDutyPercent(MotorRuntime *motor, uint32_t duty_percent)
{
  uint32_t period_ticks = __HAL_TIM_GET_AUTORELOAD(motor->pwm_timer) + 1U;
  uint32_t compare_ticks;

  if (duty_percent > 100U)
  {
    duty_percent = 100U;
  }

  compare_ticks = (period_ticks * duty_percent) / 100U;
  __HAL_TIM_SET_COMPARE(motor->pwm_timer, motor->pwm_channel, compare_ticks);
  motor->duty_percent = duty_percent;
}

static void Motor_RampDuty(MotorRuntime *motor, uint32_t target_duty_percent)
{
  uint32_t next_duty = motor->duty_percent;

  if (next_duty < target_duty_percent)
  {
    next_duty += MOTOR_DUTY_RAMP_STEP_PERCENT;
    if (next_duty > target_duty_percent)
    {
      next_duty = target_duty_percent;
    }
  }
  else if (next_duty > target_duty_percent)
  {
    if (next_duty > MOTOR_DUTY_RAMP_STEP_PERCENT)
    {
      next_duty -= MOTOR_DUTY_RAMP_STEP_PERCENT;
    }
    else
    {
      next_duty = 0U;
    }

    if (next_duty < target_duty_percent)
    {
      next_duty = target_duty_percent;
    }
  }

  Motor_SetDutyPercent(motor, next_duty);
}

static void Motor_SetDirection(MotorRuntime *motor, GPIO_PinState phase)
{
  HAL_GPIO_WritePin(motor->phase_port, motor->phase_pin, phase);
}

static void Motor_Stop(MotorRuntime *motor)
{
  Motor_SetDutyPercent(motor, 0U);
}

static void Motor_UpdateEncoder(MotorRuntime *motor)
{
  uint32_t raw = __HAL_TIM_GET_COUNTER(motor->encoder_timer) & motor->encoder_mask;
  int32_t delta;

  if (motor->encoder_mask == 0x0000FFFFUL)
  {
    delta = (int32_t)(int16_t)((uint16_t)(raw - motor->encoder_last_raw));
  }
  else
  {
    delta = (int32_t)(raw - motor->encoder_last_raw);
  }

  motor->encoder_raw = raw;
  motor->encoder_last_raw = raw;
  motor->encoder_position_counts += delta;
}

static int32_t Motor_GetLogicalForwardCounts(const MotorRuntime *motor)
{
  return motor->encoder_position_counts * motor->encoder_grab_sign;
}

static int32_t Motor_GetLogicalReleaseTravelCounts(const MotorRuntime *motor)
{
  int32_t delta = motor->release_start_counts - motor->encoder_position_counts;
  return delta * motor->encoder_grab_sign;
}

static int32_t Motor_GetLogicalAdjustTravelCounts(const MotorRuntime *motor)
{
  int32_t start_forward_counts = motor->adjust_start_counts * motor->encoder_grab_sign;
  int32_t forward_counts = Motor_GetLogicalForwardCounts(motor);
  int32_t travel_counts = (forward_counts - start_forward_counts) * motor->adjust_direction_sign;

  return (travel_counts < 0L) ? 0L : travel_counts;
}

static int32_t Motor_GetRotationMilli(const MotorRuntime *motor)
{
  if (ENCODER_COUNTS_PER_OUTPUT_ROTATION == 0L)
  {
    return 0L;
  }

  return (motor->encoder_position_counts * 1000L) / ENCODER_COUNTS_PER_OUTPUT_ROTATION;
}

static int32_t RotationMicroToCounts(uint32_t rotation_micro)
{
  int64_t counts = ((int64_t)rotation_micro * (int64_t)ENCODER_COUNTS_PER_OUTPUT_ROTATION) / 1000000LL;

  if (counts > 2147483647LL)
  {
    return 2147483647L;
  }

  return (int32_t)counts;
}

static void Motor_ResetZero(MotorRuntime *motor)
{
  __HAL_TIM_SET_COUNTER(motor->encoder_timer, 0U);
  motor->encoder_raw = 0U;
  motor->encoder_last_raw = 0U;
  motor->encoder_position_counts = 0L;
  motor->grab_start_counts = 0L;
  motor->grab_travel_counts = 0L;
  motor->release_start_counts = 0L;
  motor->release_target_counts = 0L;
  motor->adjust_start_counts = 0L;
  motor->adjust_target_counts = 0L;
  motor->adjust_direction_sign = 1L;
  motor->grabpid_integral = 0L;
  motor->grabpid_previous_error = 0L;
  motor->grabpid_output_sign = 0;
  motor->grabpid_target_duty_percent = 0U;
}

static int32_t Abs32(int32_t value)
{
  return (value < 0L) ? -value : value;
}

static uint32_t PressurePercentFromRaw(uint32_t raw)
{
  if (raw > ADC_MAX_COUNTS)
  {
    raw = ADC_MAX_COUNTS;
  }

  return (raw * 100U) / ADC_MAX_COUNTS;
}

static void Serial_SendString(const char *text)
{
  USB_CDC_SendString(text);
}

static uint32_t ADC_ReadRaw(uint32_t channel)
{
  ADC_ChannelConfTypeDef sConfig = {0};
  uint32_t raw = 0U;

  sConfig.Channel = channel;
  sConfig.Rank = 1;
  sConfig.SamplingTime = ADC_SAMPLETIME_480CYCLES;

  if (HAL_ADC_ConfigChannel(&hadc1, &sConfig) != HAL_OK)
  {
    Error_Handler();
  }

  if (HAL_ADC_Start(&hadc1) != HAL_OK)
  {
    Error_Handler();
  }

  if (HAL_ADC_PollForConversion(&hadc1, 10U) != HAL_OK)
  {
    HAL_ADC_Stop(&hadc1);
    Error_Handler();
  }

  raw = HAL_ADC_GetValue(&hadc1);
  HAL_ADC_Stop(&hadc1);

  return raw;
}

/* USER CODE END 0 */

int main(void)
{

  /* MCU Configuration--------------------------------------------------------*/

  /* Reset of all peripherals, Initializes the Flash interface and the Systick. */
  HAL_Init();

  /* Configure the system clock */
  SystemClock_Config();

  /* Initialize all configured peripherals */
  MX_GPIO_Init();
  MX_TIM2_Init();
  MX_TIM3_Init();
  MX_TIM1_Init();
  MX_ADC1_Init();
  MX_TIM4_Init();
  MX_USB_DEVICE_Init();
  /* USER CODE BEGIN 2 */
  App_Init();

  /* USER CODE END 2 */

  /* Infinite loop */
  while (1)
  {

    /* USER CODE BEGIN 3 */
    App_Update();
  }
  /* USER CODE END 3 */
}

void SystemClock_Config(void)
{
  RCC_OscInitTypeDef RCC_OscInitStruct = {0};
  RCC_ClkInitTypeDef RCC_ClkInitStruct = {0};

  /** Configure the main internal regulator output voltage
  */
  __HAL_RCC_PWR_CLK_ENABLE();
  __HAL_PWR_VOLTAGESCALING_CONFIG(PWR_REGULATOR_VOLTAGE_SCALE1);

  /** Initializes the RCC Oscillators according to the specified parameters
  * in the RCC_OscInitTypeDef structure.
  */
  RCC_OscInitStruct.OscillatorType = RCC_OSCILLATORTYPE_HSE;
  RCC_OscInitStruct.HSEState = RCC_HSE_ON;
  RCC_OscInitStruct.PLL.PLLState = RCC_PLL_ON;
  RCC_OscInitStruct.PLL.PLLSource = RCC_PLLSOURCE_HSE;
  RCC_OscInitStruct.PLL.PLLM = 8;
  RCC_OscInitStruct.PLL.PLLN = 192;
  RCC_OscInitStruct.PLL.PLLP = RCC_PLLP_DIV2;
  RCC_OscInitStruct.PLL.PLLQ = 4;
  if (HAL_RCC_OscConfig(&RCC_OscInitStruct) != HAL_OK)
  {
    Error_Handler();
  }

  /** Initializes the CPU, AHB and APB buses clocks
  */
  RCC_ClkInitStruct.ClockType = RCC_CLOCKTYPE_HCLK|RCC_CLOCKTYPE_SYSCLK
                              |RCC_CLOCKTYPE_PCLK1|RCC_CLOCKTYPE_PCLK2;
  RCC_ClkInitStruct.SYSCLKSource = RCC_SYSCLKSOURCE_PLLCLK;
  RCC_ClkInitStruct.AHBCLKDivider = RCC_SYSCLK_DIV1;
  RCC_ClkInitStruct.APB1CLKDivider = RCC_HCLK_DIV2;
  RCC_ClkInitStruct.APB2CLKDivider = RCC_HCLK_DIV1;

  if (HAL_RCC_ClockConfig(&RCC_ClkInitStruct, FLASH_LATENCY_3) != HAL_OK)
  {
    Error_Handler();
  }
}

static void MX_ADC1_Init(void)
{

  ADC_ChannelConfTypeDef sConfig = {0};

  /** Configure the global features of the ADC (Clock, Resolution, Data Alignment and number of conversion)
  */
  hadc1.Instance = ADC1;
  hadc1.Init.ClockPrescaler = ADC_CLOCK_SYNC_PCLK_DIV4;
  hadc1.Init.Resolution = ADC_RESOLUTION_12B;
  hadc1.Init.ScanConvMode = DISABLE;
  hadc1.Init.ContinuousConvMode = DISABLE;
  hadc1.Init.DiscontinuousConvMode = DISABLE;
  hadc1.Init.ExternalTrigConvEdge = ADC_EXTERNALTRIGCONVEDGE_NONE;
  hadc1.Init.ExternalTrigConv = ADC_SOFTWARE_START;
  hadc1.Init.DataAlign = ADC_DATAALIGN_RIGHT;
  hadc1.Init.NbrOfConversion = 1;
  hadc1.Init.DMAContinuousRequests = DISABLE;
  hadc1.Init.EOCSelection = ADC_EOC_SINGLE_CONV;
  if (HAL_ADC_Init(&hadc1) != HAL_OK)
  {
    Error_Handler();
  }

  /** Configure for the selected ADC regular channel its corresponding rank in the sequencer and its sample time.
  */
  sConfig.Channel = ADC_CHANNEL_1;
  sConfig.Rank = 1;
  sConfig.SamplingTime = ADC_SAMPLETIME_3CYCLES;
  if (HAL_ADC_ConfigChannel(&hadc1, &sConfig) != HAL_OK)
  {
    Error_Handler();
  }

}

static void MX_TIM1_Init(void)
{

  TIM_MasterConfigTypeDef sMasterConfig = {0};
  TIM_OC_InitTypeDef sConfigOC = {0};
  TIM_BreakDeadTimeConfigTypeDef sBreakDeadTimeConfig = {0};

  htim1.Instance = TIM1;
  htim1.Init.Prescaler = 0;
  htim1.Init.CounterMode = TIM_COUNTERMODE_UP;
  htim1.Init.Period = 4799;
  htim1.Init.ClockDivision = TIM_CLOCKDIVISION_DIV1;
  htim1.Init.RepetitionCounter = 0;
  htim1.Init.AutoReloadPreload = TIM_AUTORELOAD_PRELOAD_ENABLE;
  if (HAL_TIM_PWM_Init(&htim1) != HAL_OK)
  {
    Error_Handler();
  }
  sMasterConfig.MasterOutputTrigger = TIM_TRGO_RESET;
  sMasterConfig.MasterSlaveMode = TIM_MASTERSLAVEMODE_DISABLE;
  if (HAL_TIMEx_MasterConfigSynchronization(&htim1, &sMasterConfig) != HAL_OK)
  {
    Error_Handler();
  }
  sConfigOC.OCMode = TIM_OCMODE_PWM1;
  sConfigOC.Pulse = 0;
  sConfigOC.OCPolarity = TIM_OCPOLARITY_HIGH;
  sConfigOC.OCNPolarity = TIM_OCNPOLARITY_HIGH;
  sConfigOC.OCFastMode = TIM_OCFAST_DISABLE;
  sConfigOC.OCIdleState = TIM_OCIDLESTATE_RESET;
  sConfigOC.OCNIdleState = TIM_OCNIDLESTATE_RESET;
  if (HAL_TIM_PWM_ConfigChannel(&htim1, &sConfigOC, TIM_CHANNEL_1) != HAL_OK)
  {
    Error_Handler();
  }
  if (HAL_TIM_PWM_ConfigChannel(&htim1, &sConfigOC, TIM_CHANNEL_2) != HAL_OK)
  {
    Error_Handler();
  }
  if (HAL_TIM_PWM_ConfigChannel(&htim1, &sConfigOC, TIM_CHANNEL_3) != HAL_OK)
  {
    Error_Handler();
  }
  sBreakDeadTimeConfig.OffStateRunMode = TIM_OSSR_DISABLE;
  sBreakDeadTimeConfig.OffStateIDLEMode = TIM_OSSI_DISABLE;
  sBreakDeadTimeConfig.LockLevel = TIM_LOCKLEVEL_OFF;
  sBreakDeadTimeConfig.DeadTime = 0;
  sBreakDeadTimeConfig.BreakState = TIM_BREAK_DISABLE;
  sBreakDeadTimeConfig.BreakPolarity = TIM_BREAKPOLARITY_HIGH;
  sBreakDeadTimeConfig.AutomaticOutput = TIM_AUTOMATICOUTPUT_DISABLE;
  if (HAL_TIMEx_ConfigBreakDeadTime(&htim1, &sBreakDeadTimeConfig) != HAL_OK)
  {
    Error_Handler();
  }
  HAL_TIM_MspPostInit(&htim1);

}

static void MX_TIM2_Init(void)
{

  TIM_Encoder_InitTypeDef sConfig = {0};
  TIM_MasterConfigTypeDef sMasterConfig = {0};

  htim2.Instance = TIM2;
  htim2.Init.Prescaler = 0;
  htim2.Init.CounterMode = TIM_COUNTERMODE_UP;
  htim2.Init.Period = 4294967295;
  htim2.Init.ClockDivision = TIM_CLOCKDIVISION_DIV1;
  htim2.Init.AutoReloadPreload = TIM_AUTORELOAD_PRELOAD_DISABLE;
  sConfig.EncoderMode = TIM_ENCODERMODE_TI12;
  sConfig.IC1Polarity = TIM_ICPOLARITY_RISING;
  sConfig.IC1Selection = TIM_ICSELECTION_DIRECTTI;
  sConfig.IC1Prescaler = TIM_ICPSC_DIV1;
  sConfig.IC1Filter = 0;
  sConfig.IC2Polarity = TIM_ICPOLARITY_RISING;
  sConfig.IC2Selection = TIM_ICSELECTION_DIRECTTI;
  sConfig.IC2Prescaler = TIM_ICPSC_DIV1;
  sConfig.IC2Filter = 0;
  if (HAL_TIM_Encoder_Init(&htim2, &sConfig) != HAL_OK)
  {
    Error_Handler();
  }
  sMasterConfig.MasterOutputTrigger = TIM_TRGO_RESET;
  sMasterConfig.MasterSlaveMode = TIM_MASTERSLAVEMODE_DISABLE;
  if (HAL_TIMEx_MasterConfigSynchronization(&htim2, &sMasterConfig) != HAL_OK)
  {
    Error_Handler();
  }

}

static void MX_TIM3_Init(void)
{

  TIM_Encoder_InitTypeDef sConfig = {0};
  TIM_MasterConfigTypeDef sMasterConfig = {0};

  htim3.Instance = TIM3;
  htim3.Init.Prescaler = 0;
  htim3.Init.CounterMode = TIM_COUNTERMODE_UP;
  htim3.Init.Period = 65535;
  htim3.Init.ClockDivision = TIM_CLOCKDIVISION_DIV1;
  htim3.Init.AutoReloadPreload = TIM_AUTORELOAD_PRELOAD_DISABLE;
  sConfig.EncoderMode = TIM_ENCODERMODE_TI12;
  sConfig.IC1Polarity = TIM_ICPOLARITY_RISING;
  sConfig.IC1Selection = TIM_ICSELECTION_DIRECTTI;
  sConfig.IC1Prescaler = TIM_ICPSC_DIV1;
  sConfig.IC1Filter = 0;
  sConfig.IC2Polarity = TIM_ICPOLARITY_RISING;
  sConfig.IC2Selection = TIM_ICSELECTION_DIRECTTI;
  sConfig.IC2Prescaler = TIM_ICPSC_DIV1;
  sConfig.IC2Filter = 0;
  if (HAL_TIM_Encoder_Init(&htim3, &sConfig) != HAL_OK)
  {
    Error_Handler();
  }
  sMasterConfig.MasterOutputTrigger = TIM_TRGO_RESET;
  sMasterConfig.MasterSlaveMode = TIM_MASTERSLAVEMODE_DISABLE;
  if (HAL_TIMEx_MasterConfigSynchronization(&htim3, &sMasterConfig) != HAL_OK)
  {
    Error_Handler();
  }

}

static void MX_TIM4_Init(void)
{

  TIM_Encoder_InitTypeDef sConfig = {0};
  TIM_MasterConfigTypeDef sMasterConfig = {0};

  htim4.Instance = TIM4;
  htim4.Init.Prescaler = 0;
  htim4.Init.CounterMode = TIM_COUNTERMODE_UP;
  htim4.Init.Period = 65535;
  htim4.Init.ClockDivision = TIM_CLOCKDIVISION_DIV1;
  htim4.Init.AutoReloadPreload = TIM_AUTORELOAD_PRELOAD_DISABLE;
  sConfig.EncoderMode = TIM_ENCODERMODE_TI12;
  sConfig.IC1Polarity = TIM_ICPOLARITY_RISING;
  sConfig.IC1Selection = TIM_ICSELECTION_DIRECTTI;
  sConfig.IC1Prescaler = TIM_ICPSC_DIV1;
  sConfig.IC1Filter = 0;
  sConfig.IC2Polarity = TIM_ICPOLARITY_RISING;
  sConfig.IC2Selection = TIM_ICSELECTION_DIRECTTI;
  sConfig.IC2Prescaler = TIM_ICPSC_DIV1;
  sConfig.IC2Filter = 0;
  if (HAL_TIM_Encoder_Init(&htim4, &sConfig) != HAL_OK)
  {
    Error_Handler();
  }
  sMasterConfig.MasterOutputTrigger = TIM_TRGO_RESET;
  sMasterConfig.MasterSlaveMode = TIM_MASTERSLAVEMODE_DISABLE;
  if (HAL_TIMEx_MasterConfigSynchronization(&htim4, &sMasterConfig) != HAL_OK)
  {
    Error_Handler();
  }

}

static void MX_GPIO_Init(void)
{
  GPIO_InitTypeDef GPIO_InitStruct = {0};

  /* GPIO Ports Clock Enable */
  __HAL_RCC_GPIOC_CLK_ENABLE();
  __HAL_RCC_GPIOH_CLK_ENABLE();
  __HAL_RCC_GPIOA_CLK_ENABLE();
  __HAL_RCC_GPIOB_CLK_ENABLE();

  /*Configure GPIO pin Output Level */
  HAL_GPIO_WritePin(GPIOB, GPIO_PIN_0|GPIO_PIN_1|GPIO_PIN_2, GPIO_PIN_RESET);

  /*Configure GPIO pin : PC13 */
  GPIO_InitStruct.Pin = GPIO_PIN_13;
  GPIO_InitStruct.Mode = GPIO_MODE_INPUT;
  GPIO_InitStruct.Pull = GPIO_NOPULL;
  HAL_GPIO_Init(GPIOC, &GPIO_InitStruct);

  /*Configure GPIO pins : PB0 PB1 PB2 */
  GPIO_InitStruct.Pin = GPIO_PIN_0|GPIO_PIN_1|GPIO_PIN_2;
  GPIO_InitStruct.Mode = GPIO_MODE_OUTPUT_PP;
  GPIO_InitStruct.Pull = GPIO_NOPULL;
  GPIO_InitStruct.Speed = GPIO_SPEED_FREQ_LOW;
  HAL_GPIO_Init(GPIOB, &GPIO_InitStruct);

}

void Error_Handler(void)
{
  __disable_irq();
  while (1)
  {
  }
}
